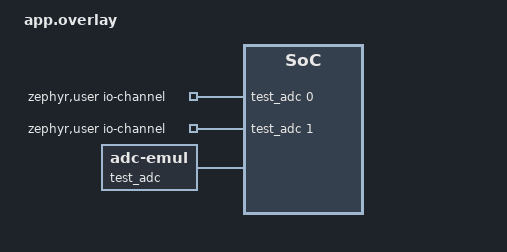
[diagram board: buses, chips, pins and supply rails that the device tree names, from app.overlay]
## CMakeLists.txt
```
cmake_minimum_required(VERSION 3.28.0)
find_package(Zephyr REQUIRED HINTS $ENV{ZEPHYR_BASE})
project(controller_hw_io_tests)
target_include_directories(app PRIVATE ../../include)
target_compile_options(app PRIVATE -Wall -Wextra)
target_sources(app PRIVATE src/main.c ../../src/io_hw.c ../../src/io_scaling.c
    ../../src/controller.c ../../src/sensor_signal.c ../../src/protection.c)
```

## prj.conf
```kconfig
CONFIG_ZTEST=y
CONFIG_ZTEST_STACK_SIZE=4096
CONFIG_ADC=y
CONFIG_ADC_EMUL=y
CONFIG_ADC_ASYNC=y
```

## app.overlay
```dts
#include <zephyr/dt-bindings/adc/adc.h>
/ {
    zephyr,user {
        io-channels = <&test_adc 0>, <&test_adc 1>;
        current-shunt-ohms = <125>;
        voltage-divider-multiplier = <4>;
    };
    test_adc: adc {
        compatible = "zephyr,adc-emul";
        #io-channel-cells = <1>;
        #address-cells = <1>;
        #size-cells = <0>;
        nchannels = <2>;
        ref-internal-mv = <4096>;
        channel@0 {
            reg = <0>;
            zephyr,gain = "ADC_GAIN_1";
            zephyr,reference = "ADC_REF_INTERNAL";
            zephyr,acquisition-time = <ADC_ACQ_TIME_DEFAULT>;
            zephyr,resolution = <12>;
        };
        channel@1 {
            reg = <1>;
            zephyr,gain = "ADC_GAIN_1";
            zephyr,reference = "ADC_REF_INTERNAL";
            zephyr,acquisition-time = <ADC_ACQ_TIME_DEFAULT>;
            zephyr,resolution = <12>;
        };
    };
};
```

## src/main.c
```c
#include "controller_io.h"
#include "io_scaling.h"
#include <zephyr/drivers/adc/adc_emul.h>
#include <zephyr/ztest.h>
#include <errno.h>

static const struct device *const adc = DEVICE_DT_GET(DT_NODELABEL(test_adc));
static struct controller ctrl;
static struct controller_config config;

static void before(void *fixture)
{
    ARG_UNUSED(fixture);
    controller_init(&ctrl);
    config = ctrl.config;
    zassert_ok(adc_emul_const_raw_value_set(adc, 0, 1500));
    zassert_ok(adc_emul_const_raw_value_set(adc, 1, 1250));
}

ZTEST(hw_io, test_current_and_voltage_scaling)
{
    struct sensor_sample sample;
    zassert_ok(adc_emul_const_raw_value_set(adc, 0, 500));
    zassert_ok(controller_io_read(&config, &sample));
    zassert_equal(sample.current_ua, 4000);
    zassert_equal(sample.voltage_mv, -1);
    zassert_ok(adc_emul_const_raw_value_set(adc, 0, 2500));
    zassert_ok(controller_io_read(&config, &sample));
    zassert_equal(sample.current_ua, 20000);
    config.mode = INPUT_0_10V;
    zassert_ok(adc_emul_const_raw_value_set(adc, 1, 2500));
    zassert_ok(controller_io_read(&config, &sample));
    zassert_equal(sample.voltage_mv, 10000);
    zassert_equal(sample.current_ua, -1);
}

ZTEST(hw_io, test_range_and_wire_break_keep_physical_values)
{
    struct sensor_sample sample;
    zassert_ok(adc_emul_const_raw_value_set(adc, 0, 0));
    zassert_equal(controller_io_read(&config, &sample), -EIO);
    zassert_equal(sample.current_ua, 0);
    zassert_ok(sample.read_error);
    controller_update(&ctrl, &sample, 100);
    zassert_equal(ctrl.sensor_faults, FAULT_WIRE_BREAK);
    config.mode = INPUT_0_10V;
    zassert_ok(adc_emul_const_raw_value_set(adc, 1, 2625));
    zassert_equal(controller_io_read(&config, &sample), -EIO);
    zassert_equal(sample.voltage_mv, 10500);
    zassert_ok(sample.read_error);
}

static int failed_conversion(const struct device *dev, unsigned int channel,
                              void *data, uint32_t *value)
{
    ARG_UNUSED(dev); ARG_UNUSED(channel); ARG_UNUSED(data); ARG_UNUSED(value);
    return -EIO;
}

ZTEST(hw_io, test_adc_error_stops_and_latches_fault)
{
    struct sensor_sample sample;
    zassert_ok(controller_io_read(&config, &sample));
    controller_update(&ctrl, &sample, 0);
    zassert_ok(controller_start(&ctrl, 0));
    zassert_ok(adc_emul_raw_value_func_set(adc, 0, failed_conversion, NULL));
    zassert_equal(controller_io_read(&config, &sample), -EIO);
    zassert_equal(sample.read_error, -EIO);
    controller_update(&ctrl, &sample, 100);
    zassert_equal(ctrl.state, STATE_FAULT);
    zassert_equal(ctrl.sensor_faults, FAULT_INPUT_IO);
    zassert_equal(ctrl.frequency_x100, 0);
    zassert_equal(ctrl.signal_filter.count, 0);
    zassert_equal(controller_reset(&ctrl, 101), -EBUSY);
    zassert_ok(adc_emul_const_raw_value_set(adc, 0, 1500));
    zassert_ok(controller_io_read(&config, &sample));
    controller_update(&ctrl, &sample, 200);
    zassert_equal(ctrl.active_faults, 0);
    zassert_equal(ctrl.latched_faults, FAULT_INPUT_IO);
    zassert_ok(controller_reset(&ctrl, 201));
}

static int delayed_conversion(const struct device *dev, unsigned int channel,
                               void *data, uint32_t *value)
{
    ARG_UNUSED(dev); ARG_UNUSED(channel); ARG_UNUSED(data);
    k_sleep(K_MSEC(100));
    *value = 1500;
    return 0;
}

ZTEST(hw_io, test_timeout_does_not_reuse_pending_buffer)
{
    struct sensor_sample sample;
    zassert_ok(adc_emul_raw_value_func_set(adc, 0, delayed_conversion, NULL));
    int64_t started = k_uptime_get();
    zassert_equal(controller_io_read(&config, &sample), -ETIMEDOUT);
    zassert_true(k_uptime_get() - started <= 40);
    zassert_equal(sample.read_error, -ETIMEDOUT);
    // Смена режима не должна запустить второй запрос поверх незавершённого.
    config.mode = INPUT_0_10V;
    started = k_uptime_get();
    zassert_equal(controller_io_read(&config, &sample), -ETIMEDOUT);
    zassert_true(k_uptime_get() - started <= 10);
    k_sleep(K_MSEC(120));
    zassert_ok(controller_io_read(&config, &sample));
    zassert_equal(sample.voltage_mv, 5000);
}

ZTEST(hw_io, test_clipping_and_unsupported_operations)
{
    struct sensor_sample sample;
    zassert_ok(adc_emul_const_raw_value_set(adc, 0, 4095));
    zassert_equal(controller_io_read(&config, &sample), -EIO);
    zassert_equal(sample.read_error, -EIO);
    config.mode = (enum input_mode)99;
    zassert_equal(controller_io_read(&config, &sample), -ENOTSUP);
    zassert_equal(controller_io_inject_signal(true, 1000), -ENOTSUP);
    zassert_equal(controller_io_inject_wire_break(true), -ENOTSUP);
    controller_io_write(5000);
    zassert_equal(controller_io_output(), 0);
}

ZTEST(hw_io, test_scaling_uses_wide_arithmetic_and_validates_parameters)
{
    struct sensor_sample sample = {0};
    zassert_equal(controller_adc_scale(INPUT_4_20MA, 1000, 0, 4, &sample), -EINVAL);
    zassert_equal(controller_adc_scale(INPUT_0_10V, INT32_MAX, 125, 4, &sample), -EIO);
    zassert_equal(controller_adc_scale(INPUT_4_20MA, 2625, 125, 4, &sample), 0);
    zassert_equal(sample.current_ua, 21000);
    zassert_equal(controller_adc_scale(INPUT_4_20MA, 2626, 125, 4, &sample), -EIO);
}

ZTEST_SUITE(hw_io, NULL, NULL, before, NULL, NULL);
```
